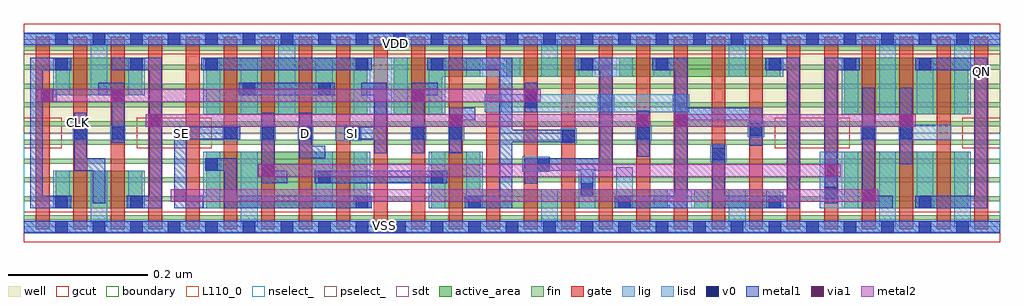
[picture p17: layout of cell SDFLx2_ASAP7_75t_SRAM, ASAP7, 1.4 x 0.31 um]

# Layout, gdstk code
import gdstk
lib = gdstk.Library(unit=1e-6, precision=2.5e-10)
def R(c, l, rs):  # rectangles x0, y0, x1, y1
    for r in rs: c.add(gdstk.rectangle(r[:2], r[2:], *l))
def A(c, l, x, y, w, h, nx, ny, dx, dy):  # array of equal rectangles
    R(c, l, [(x+i*dx, y+j*dy, x+i*dx+w, y+j*dy+h) for i in range(nx) for j in range(ny)])
def P(c, l, *ps):  # polygons
    for p in ps: c.add(gdstk.Polygon(p, *l))
well = (1, 0)
fin = (2, 0)
gate = (7, 0)
gcut = (10, 0)
active_area = (11, 0)
nselect_ = (12, 0)
pselect_ = (13, 0)
lig = (16, 0)
lisd = (17, 0)
v0 = (18, 0)
metal1 = (19, 0)
metal2 = (20, 0)
via1 = (21, 0)
sdt = (88, 0)
boundary = (100, 0)
L110_0 = (110, 0)

sdflx2_asap7_75t_sram = lib.new_cell('SDFLx2_ASAP7_75t_SRAM')
R(sdflx2_asap7_75t_sram, well, [(0,0.135,1.404,0.27)])
A(sdflx2_asap7_75t_sram, fin, 0, 0.01, 1.404, 0.007, 1, 10, 0, 0.027)
A(sdflx2_asap7_75t_sram, gate, 0.017, -0.0035, 0.02, 0.277, 26, 1, 0.054, 0)
R(sdflx2_asap7_75t_sram, gcut, [(0,-0.022,1.404,0.022), (0,0.113,0.054,0.157), (0.162,0.113,0.27,0.157), (1.08,0.113,1.188,0.157), (1.35,0.113,1.404,0.157), (0,0.248,1.404,0.292)])
R(sdflx2_asap7_75t_sram, active_area, [(0.046,0.027,0.17,0.081), (0.262,0.027,0.494,0.108), (0.964,0.027,1.088,0.054), (1.18,0.027,1.358,0.108), (0.262,0.162,0.494,0.243), (1.18,0.162,1.358,0.243), (0.046,0.189,0.17,0.243), (0.694,0.216,0.818,0.243), (0.856,0.216,1.088,0.243)])
P(sdflx2_asap7_75t_sram, active_area, [(0.926,0.054),(0.656,0.054),(0.656,0.108),(0.586,0.108),(0.586,0.027),(0.926,0.027)],
  [(0.656,0.243),(0.532,0.243),(0.532,0.162),(0.602,0.162),(0.602,0.216),(0.656,0.216)])
R(sdflx2_asap7_75t_sram, nselect_, [(0,0,1.404,0.135)])
R(sdflx2_asap7_75t_sram, pselect_, [(0,0.135,1.404,0.27)])
A(sdflx2_asap7_75t_sram, lig, 0.286, 0.124, 0.022, 0.022, 3, 1, 0.054, 0)
R(sdflx2_asap7_75t_sram, lig, [(0,-0.008,1.404,0.008), (0.717,0.079,0.756,0.101), (0.987,0.094,1.011,0.117), (0.772,0.12,0.795,0.142), (0.07,0.124,0.092,0.146), (0.124,0.124,0.146,0.146), (0.448,0.124,0.486,0.146), (0.61,0.124,0.633,0.146), (0.879,0.124,0.903,0.146), (0.556,0.125,0.579,0.146), (1.204,0.125,1.226,0.147), (1.258,0.125,1.334,0.147), (1.041,0.129,1.065,0.151), (0.663,0.165,0.687,0.191), (0.825,0.165,0.849,0.191), (0.933,0.165,0.957,0.191), (0,0.262,1.404,0.278)])
R(sdflx2_asap7_75t_sram, lisd, [(0.096,0,0.12,0.081), (0.312,0,0.336,0.108), (0.744,0,0.768,0.054), (1.014,0,1.038,0.054), (1.23,0,1.254,0.108), (1.338,0,1.362,0.108), (0.042,0.027,0.066,0.081), (0.15,0.027,0.174,0.081), (0.258,0.027,0.282,0.108), (0.42,0.027,0.444,0.108), (0.474,0.027,0.498,0.108), (0.582,0.027,0.606,0.108), (0.636,0.027,0.66,0.108), (0.798,0.027,0.822,0.083), (0.852,0.027,0.876,0.086), (0.906,0.027,0.984,0.054), (1.068,0.027,1.092,0.054), (1.145,0.027,1.2,0.108), (1.284,0.027,1.308,0.108), (0.258,0.162,0.282,0.243), (0.312,0.162,0.336,0.243), (0.366,0.162,0.39,0.27), (0.42,0.162,0.444,0.243), (0.474,0.162,0.552,0.243), (0.582,0.162,0.606,0.243), (1.176,0.162,1.2,0.243), (1.23,0.162,1.254,0.27), (1.284,0.162,1.308,0.243), (1.338,0.162,1.362,0.27), (0.663,0.165,0.957,0.191), (0.042,0.189,0.066,0.243), (0.096,0.189,0.12,0.27), (0.15,0.189,0.174,0.243), (0.636,0.216,0.714,0.243), (0.744,0.216,0.768,0.27), (0.798,0.216,0.876,0.243), (0.906,0.216,0.93,0.243), (1.014,0.216,1.038,0.27), (1.068,0.216,1.092,0.243)])
A(sdflx2_asap7_75t_sram, v0, 0.045, -0.009, 0.018, 0.018, 25, 2, 0.054, 0.27)
A(sdflx2_asap7_75t_sram, v0, 0.639, 0.027, 0.018, 0.018, 4, 1, 0.216, 0)
A(sdflx2_asap7_75t_sram, v0, 0.288, 0.126, 0.018, 0.018, 3, 1, 0.054, 0)
A(sdflx2_asap7_75t_sram, v0, 0.045, 0.225, 0.018, 0.018, 3, 1, 0.108, 0)
A(sdflx2_asap7_75t_sram, v0, 1.071, 0.225, 0.018, 0.018, 3, 1, 0.108, 0)
R(sdflx2_asap7_75t_sram, v0, [(0.045,0.027,0.063,0.045), (0.153,0.027,0.171,0.045), (0.477,0.027,0.495,0.045), (1.152,0.04,1.17,0.058), (0.801,0.045,0.819,0.063), (0.423,0.063,0.441,0.081), (0.585,0.063,0.603,0.081), (0.261,0.081,0.279,0.099), (0.738,0.081,0.756,0.099), (0.99,0.096,1.008,0.114), (0.774,0.122,0.792,0.14), (0.072,0.126,0.09,0.144), (0.126,0.126,0.144,0.144), (0.466,0.126,0.484,0.144), (0.558,0.126,0.576,0.144), (0.612,0.126,0.63,0.144), (0.882,0.126,0.9,0.144), (1.206,0.127,1.224,0.145), (1.26,0.127,1.278,0.145), (1.044,0.131,1.062,0.149), (0.72,0.171,0.738,0.189), (0.315,0.189,0.333,0.207), (0.423,0.189,0.441,0.207), (0.477,0.225,0.495,0.243), (0.585,0.225,0.603,0.243), (0.801,0.225,0.819,0.243), (0.909,0.225,0.927,0.243)])
R(sdflx2_asap7_75t_sram, metal1, [(0,-0.009,1.404,0.009), (0.418,0.063,0.609,0.081), (1.26,0.09,1.278,0.2), (0.882,0.101,0.9,0.167), (0.72,0.165,0.738,0.207), (0.309,0.189,0.447,0.207), (0.255,0.225,0.5,0.243), (0,0.261,1.404,0.279)])
P(sdflx2_asap7_75t_sram, metal1, [(1.386,0.243),(1.282,0.243),(1.282,0.225),(1.368,0.225),(1.368,0.045),(1.282,0.045),(1.282,0.027),(1.386,0.027)],
  [(1.25,0.045),(1.224,0.045),(1.224,0.2),(1.206,0.2),(1.206,0.027),(1.25,0.027)],
  [(1.202,0.243),(1.152,0.243),(1.152,0.034),(1.17,0.034),(1.17,0.225),(1.202,0.225)],
  [(1.116,0.243),(1.066,0.243),(1.066,0.225),(1.098,0.225),(1.098,0.045),(1.008,0.045),(1.008,0.119),(0.99,0.119),(0.99,0.027),(1.116,0.027)],
  [(1.062,0.171),(0.954,0.171),(0.954,0.243),(0.904,0.243),(0.904,0.225),(0.936,0.225),(0.936,0.045),(0.85,0.045),(0.85,0.027),(0.954,0.027),(0.954,0.153),(1.044,0.153),(1.044,0.117),(1.062,0.117)],
  [(0.846,0.243),(0.792,0.243),(0.792,0.225),(0.828,0.225),(0.828,0.099),(0.72,0.099),(0.72,0.062),(0.738,0.062),(0.738,0.081),(0.801,0.081),(0.801,0.045),(0.819,0.045),(0.819,0.081),(0.846,0.081)],
  [(0.792,0.14),(0.702,0.14),(0.702,0.243),(0.58,0.243),(0.58,0.225),(0.684,0.225),(0.684,0.045),(0.634,0.045),(0.634,0.027),(0.702,0.027),(0.702,0.122),(0.792,0.122)],
  [(0.649,0.171),(0.612,0.171),(0.612,0.106),(0.63,0.106),(0.63,0.153),(0.649,0.153)],
  [(0.595,0.207),(0.558,0.207),(0.558,0.106),(0.576,0.106),(0.576,0.189),(0.595,0.189)],
  [(0.522,0.207),(0.485,0.207),(0.485,0.189),(0.504,0.189),(0.504,0.144),(0.461,0.144),(0.461,0.126),(0.504,0.126),(0.504,0.106),(0.522,0.106)],
  [(0.5,0.045),(0.306,0.045),(0.306,0.099),(0.261,0.099),(0.261,0.081),(0.288,0.081),(0.288,0.027),(0.5,0.027)],
  [(0.433,0.117),(0.414,0.117),(0.414,0.164),(0.396,0.164),(0.396,0.099),(0.433,0.099)],
  [(0.379,0.081),(0.36,0.081),(0.36,0.164),(0.342,0.164),(0.342,0.063),(0.379,0.063)],
  [(0.068,0.045),(0.027,0.045),(0.027,0.18),(0.047,0.18),(0.047,0.198),(0.027,0.198),(0.027,0.225),(0.068,0.225),(0.068,0.243),(0.009,0.243),(0.009,0.027),(0.068,0.027)],
  [(0.117,0.099),(0.09,0.099),(0.09,0.164),(0.072,0.164),(0.072,0.081),(0.099,0.081),(0.099,0.034),(0.117,0.034)],
  [(0.144,0.207),(0.107,0.207),(0.107,0.189),(0.126,0.189),(0.126,0.121),(0.144,0.121)],
  [(0.198,0.243),(0.126,0.243),(0.126,0.225),(0.18,0.225),(0.18,0.045),(0.148,0.045),(0.148,0.027),(0.198,0.027)],
  [(0.311,0.144),(0.216,0.144),(0.216,0.027),(0.258,0.027),(0.258,0.045),(0.234,0.045),(0.234,0.126),(0.311,0.126)])
R(sdflx2_asap7_75t_sram, metal2, [(0.211,0.036,0.234,0.054), (0.216,0.036,1.224,0.054), (1.206,0.036,1.229,0.054), (0.337,0.072,0.36,0.09), (0.342,0.072,1.17,0.09), (1.152,0.072,1.175,0.09), (0.175,0.144,0.198,0.162), (0.18,0.144,0.9,0.162), (0.936,0.144,1.278,0.162), (0.936,0.144,1.278,0.162), (1.26,0.144,1.283,0.162), (0.019,0.18,0.042,0.198), (0.024,0.18,0.738,0.198), (0.72,0.18,0.743,0.198)])
R(sdflx2_asap7_75t_sram, via1, [(0.216,0.036,0.234,0.054), (1.206,0.036,1.224,0.054), (0.342,0.072,0.36,0.09), (1.152,0.072,1.17,0.09), (0.18,0.144,0.198,0.162), (0.612,0.144,0.63,0.162), (0.882,0.144,0.9,0.162), (0.936,0.144,0.954,0.162), (1.26,0.144,1.278,0.162), (0.024,0.18,0.042,0.198), (0.126,0.18,0.144,0.198), (0.558,0.18,0.576,0.198), (0.72,0.18,0.738,0.198)])
A(sdflx2_asap7_75t_sram, sdt, 0.042, 0.027, 0.024, 0.054, 3, 2, 0.054, 0.162)
A(sdflx2_asap7_75t_sram, sdt, 0.744, 0.027, 0.024, 0.027, 7, 1, 0.054, 0)
A(sdflx2_asap7_75t_sram, sdt, 1.176, 0.027, 0.024, 0.081, 4, 2, 0.054, 0.135)
A(sdflx2_asap7_75t_sram, sdt, 0.258, 0.162, 0.024, 0.081, 7, 1, 0.054, 0)
A(sdflx2_asap7_75t_sram, sdt, 0.636, 0.216, 0.024, 0.027, 6, 1, 0.054, 0)
R(sdflx2_asap7_75t_sram, sdt, [(0.258,0.027,0.282,0.108), (0.312,0.027,0.336,0.108), (0.42,0.027,0.444,0.108), (0.474,0.027,0.498,0.108), (0.582,0.027,0.606,0.108), (0.636,0.027,0.66,0.108), (1.014,0.216,1.038,0.243), (1.068,0.216,1.092,0.243)])
R(sdflx2_asap7_75t_sram, boundary, [(0,0,1.404,0.27)])
R(sdflx2_asap7_75t_sram, L110_0, [(0,0,1.404,0.27)])
sdflx2_asap7_75t_sram.add(gdstk.Label('SE', (0.227,0.134), layer=19, texttype=251))
sdflx2_asap7_75t_sram.add(gdstk.Label('VDD', (0.534,0.264), layer=19, texttype=251))
sdflx2_asap7_75t_sram.add(gdstk.Label('VSS', (0.518,0.002), layer=19, texttype=251))
sdflx2_asap7_75t_sram.add(gdstk.Label('D', (0.405,0.134), layer=19, texttype=251))
sdflx2_asap7_75t_sram.add(gdstk.Label('QN', (1.377,0.223), layer=19, texttype=251))
sdflx2_asap7_75t_sram.add(gdstk.Label('SI', (0.473,0.135), layer=19, texttype=251))
sdflx2_asap7_75t_sram.add(gdstk.Label('CLK', (0.078,0.15), layer=19, texttype=251))
sdflx2_asap7_75t_sram.add(gdstk.Label('VDD', (1.374,0.214), layer=1, texttype=251))
sdflx2_asap7_75t_sram.add(gdstk.Label('VSS', (1.443,0.213), layer=3, texttype=251))

lib.write_gds('SDFLx2_ASAP7_75t_SRAM.gds')
